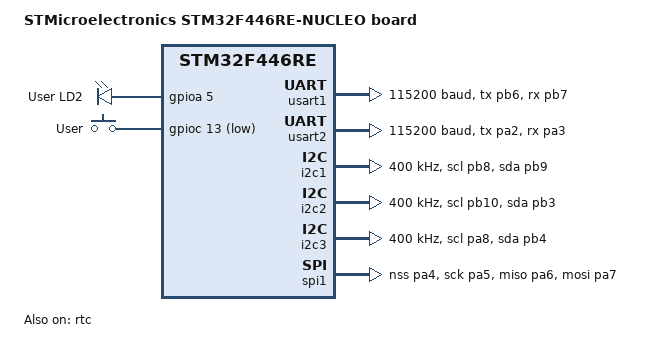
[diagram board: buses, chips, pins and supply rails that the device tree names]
/*
 * Copyright (c) 2018 Philémon Jaermann
 *
 * SPDX-License-Identifier: Apache-2.0
 */

/dts-v1/;
#include <st/f4/stm32f446Xe.dtsi>
#include <st/f4/stm32f446r(c-e)tx-pinctrl.dtsi>
#include "arduino_r3_connector.dtsi"

/ {
	model = "STMicroelectronics STM32F446RE-NUCLEO board";
	compatible = "st,stm32f446re-nucleo";

	chosen {
		zephyr,console = &usart2;
		zephyr,shell-uart = &usart2;
		zephyr,sram = &sram0;
		zephyr,flash = &flash0;
	};

	leds {
		compatible = "gpio-leds";
		green_led_2: led_2 {
			gpios = <&gpioa 5 GPIO_ACTIVE_HIGH>;
			label = "User LD2";
		};
	};

	gpio_keys {
		compatible = "gpio-keys";
		user_button: button {
			label = "User";
			gpios = <&gpioc 13 GPIO_ACTIVE_LOW>;
		};
	};

	aliases {
		led0 = &green_led_2;
		sw0 = &user_button;
	};
};

&usart1 {
	pinctrl-0 = <&usart1_tx_pb6 &usart1_rx_pb7>;
	current-speed = <115200>;
	status = "okay";
};

&usart2 {
	pinctrl-0 = <&usart2_tx_pa2 &usart2_rx_pa3>;
	current-speed = <115200>;
	status = "okay";
};

&i2c1 {
	pinctrl-0 = <&i2c1_scl_pb8 &i2c1_sda_pb9>;
	status = "okay";
	clock-frequency = <I2C_BITRATE_FAST>;
};

&i2c2 {
	pinctrl-0 = <&i2c2_scl_pb10 &i2c2_sda_pb3>;
	status = "okay";
	clock-frequency = <I2C_BITRATE_FAST>;
};

&i2c3 {
	pinctrl-0 = <&i2c3_scl_pa8 &i2c3_sda_pb4>;
	status = "okay";
	clock-frequency = <I2C_BITRATE_FAST>;
};

&spi1 {
	pinctrl-0 = <&spi1_nss_pa4 &spi1_sck_pa5
		     &spi1_miso_pa6 &spi1_mosi_pa7>;
	status = "okay";
};

&rtc {
	status = "okay";
};

&backup_sram {
	status = "okay";
};

&flash0 {

	partitions {
		compatible = "fixed-partitions";
		#address-cells = <1>;
		#size-cells = <1>;

		boot_partition: partition@0 {
			label = "mcuboot";
			reg = <0x00000000 0x00010000>;
			read-only;
		};

		/*
		 * The flash starting at 0x00010000 and ending at
		 * 0x0001ffff (sectors 16-31) is reserved for use
		 * by the application.
		 */
		storage_partition: partition@10000 {
			label = "storage";
			reg = <0x00010000 0x00010000>;
		};

		slot0_partition: partition@20000 {
			label = "image-0";
			reg = <0x00020000 0x00020000>;
		};
		slot1_partition: partition@40000 {
			label = "image-1";
			reg = <0x00040000 0x00020000>;
		};
		scratch_partition: partition@60000 {
			label = "image-scratch";
			reg = <0x00060000 0x00020000>;
		};
	};
};
